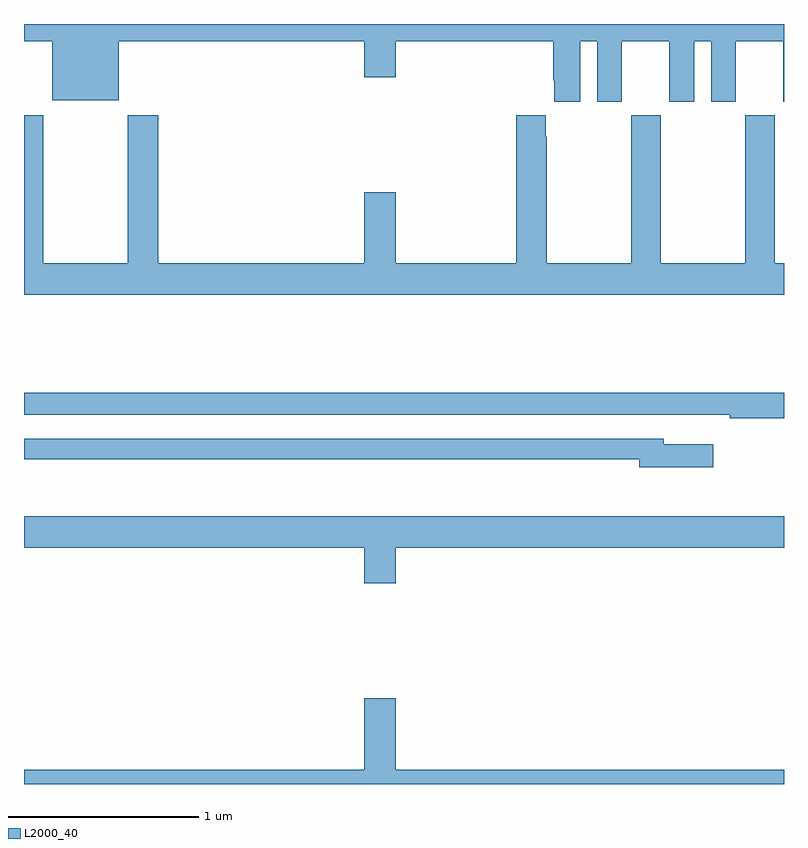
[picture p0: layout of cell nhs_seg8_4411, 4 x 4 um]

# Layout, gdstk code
import gdstk
lib = gdstk.Library(unit=1e-6, precision=1e-09)
def P(c, l, *ps):  # polygons
    for p in ps: c.add(gdstk.Polygon(p, *l))
L2000_40 = (2000, 40)

nhs_seg8_4411 = lib.new_cell('nhs_seg8_4411')
P(nhs_seg8_4411, L2000_40, [(381.928,1141.808),(382.016,1141.808),(382.016,1141.491),(382.147,1141.491),(382.147,1141.808),(382.397,1141.808),(382.397,1141.491),(382.528,1141.491),(382.528,1141.808),(382.616,1141.808),(382.616,1141.491),(382.747,1141.491),(382.747,1141.808),(382.997,1141.808),(382.997,1141.491),(383,1141.491),(383,1141.9),(379,1141.9),(379,1141.808),(379.148,1141.808),(379.148,1141.499),(379.498,1141.499),(379.498,1141.808),(380.792,1141.808),(380.792,1141.62),(380.956,1141.62),(380.956,1141.808),(381.785,1141.808),(381.785,1141.603),(381.791,1141.603),(381.791,1141.491),(381.928,1141.491)],
  [(383,1140.64),(382.95,1140.64),(382.95,1141.42),(382.795,1141.42),(382.795,1140.64),(382.35,1140.64),(382.35,1141.42),(382.195,1141.42),(382.195,1140.64),(381.75,1140.64),(381.75,1141.307),(381.745,1141.307),(381.745,1141.42),(381.59,1141.42),(381.59,1140.64),(380.956,1140.64),(380.956,1141.015),(380.792,1141.015),(380.792,1140.64),(379.706,1140.64),(379.706,1141.42),(379.546,1141.42),(379.546,1140.64),(379.101,1140.64),(379.101,1141.42),(379,1141.42),(379,1140.476),(383,1140.476)],
  [(383,1139.96),(379,1139.96),(379,1139.844),(382.462,1139.844),(382.462,1139.843),(382.714,1139.843),(382.714,1139.824),(383,1139.824)],
  [(382.627,1139.689),(382.366,1139.689),(382.366,1139.718),(379,1139.718),(379,1139.61),(382.238,1139.61),(382.238,1139.567),(382.627,1139.567)],
  [(380.956,1139.144),(383,1139.144),(383,1139.308),(379,1139.308),(379,1139.144),(380.792,1139.144),(380.792,1138.956),(380.956,1138.956)],
  [(380.956,1138.351),(380.792,1138.351),(380.792,1137.976),(379,1137.976),(379,1137.9),(383,1137.9),(383,1137.976),(380.956,1137.976)])

lib.write_gds('nhs_seg8_4411.gds')
